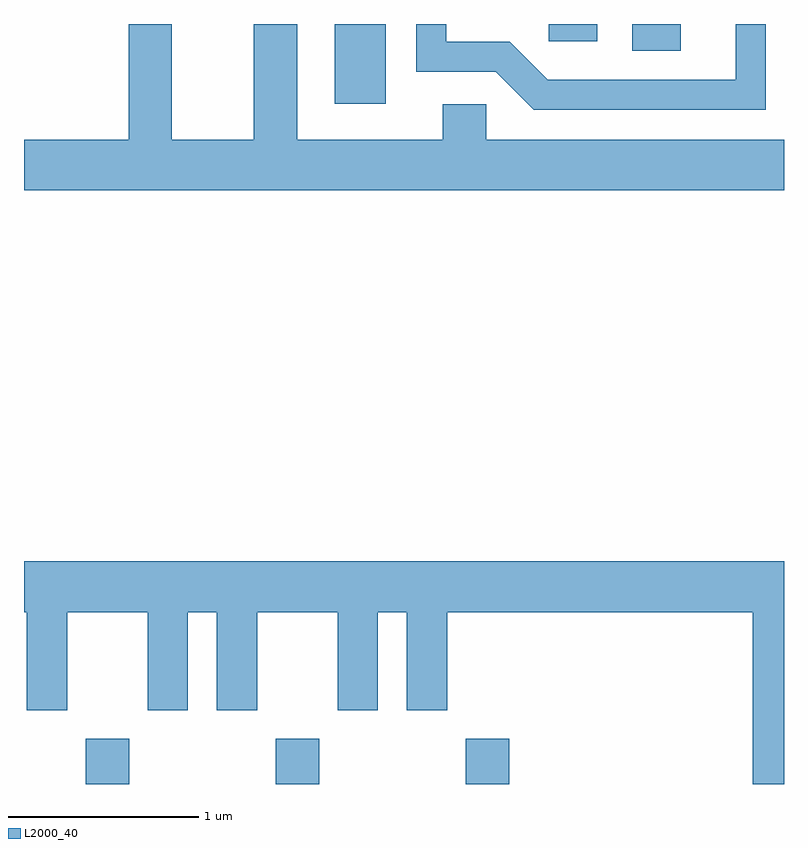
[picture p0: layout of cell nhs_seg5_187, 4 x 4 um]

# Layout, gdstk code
import gdstk
lib = gdstk.Library(unit=1e-6, precision=1e-09)
def R(c, l, rs):  # rectangles x0, y0, x1, y1
    for r in rs: c.add(gdstk.rectangle(r[:2], r[2:], *l))
def A(c, l, x, y, w, h, nx, ny, dx, dy):  # array of equal rectangles
    R(c, l, [(x+i*dx, y+j*dy, x+i*dx+w, y+j*dy+h) for i in range(nx) for j in range(ny)])
def P(c, l, *ps):  # polygons
    for p in ps: c.add(gdstk.Polygon(p, *l))
L2000_40 = (2000, 40)

nhs_seg5_187 = lib.new_cell('nhs_seg5_187')
A(nhs_seg5_187, L2000_40, 189.936, 1498.072, 0.228, 0.237, 3, 1, 1, 0)
R(nhs_seg5_187, L2000_40, [(191.246,1501.651,191.514,1502.072), (192.811,1501.931,193.068,1502.072), (192.373,1501.981,192.629,1502.072)])
P(nhs_seg5_187, L2000_40, [(193.611,1501.464),(192.044,1501.464),(192.044,1501.649),(191.816,1501.649),(191.816,1501.464),(191.049,1501.464),(191.049,1502.072),(190.821,1502.072),(190.821,1501.464),(190.389,1501.464),(190.389,1502.072),(190.161,1502.072),(190.161,1501.464),(189.611,1501.464),(189.611,1501.196),(193.611,1501.196)],
  [(193.514,1502.072),(193.356,1502.072),(193.356,1501.779),(192.367,1501.779),(192.167,1501.979),(191.834,1501.979),(191.834,1502.072),(191.676,1502.072),(191.676,1501.821),(192.094,1501.821),(192.294,1501.621),(193.514,1501.621)],
  [(193.611,1499.244),(189.611,1499.244),(189.611,1498.976),(189.626,1498.976),(189.626,1498.461),(189.839,1498.461),(189.839,1498.976),(190.261,1498.976),(190.261,1498.461),(190.474,1498.461),(190.474,1498.976),(190.626,1498.976),(190.626,1498.461),(190.839,1498.461),(190.839,1498.976),(191.261,1498.976),(191.261,1498.461),(191.474,1498.461),(191.474,1498.976),(191.626,1498.976),(191.626,1498.461),(191.839,1498.461),(191.839,1498.976),(193.446,1498.976),(193.446,1498.072),(193.611,1498.072)])

lib.write_gds('nhs_seg5_187.gds')
